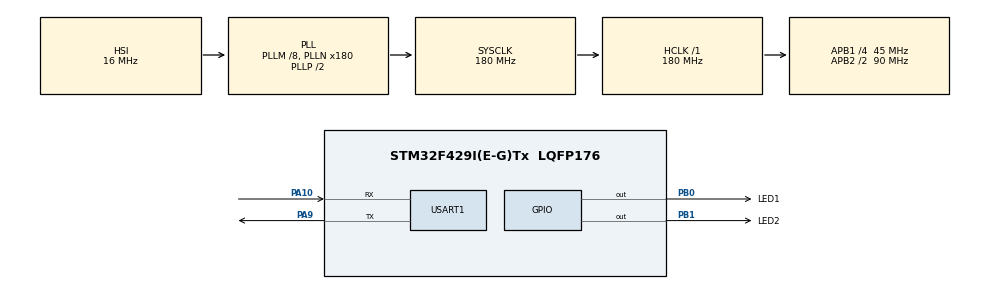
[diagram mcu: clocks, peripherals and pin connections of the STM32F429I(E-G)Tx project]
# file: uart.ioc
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Mcu.Family=STM32F4
Mcu.Name=STM32F429I(E-G)Tx
Mcu.Package=LQFP176
NVIC.PriorityGroup=NVIC_PRIORITYGROUP_4
NVIC.TIM5_IRQn=true\:0\:0\:false\:false\:true\:true\:true\:true
NVIC.TIM6_DAC_IRQn=true\:0\:0\:false\:false\:true\:true\:true\:true
NVIC.TIM7_IRQn=true\:0\:0\:false\:false\:true\:true\:true\:true
NVIC.USART1_IRQn=true\:0\:0\:false\:false\:true\:true\:true\:true
PA10.Mode=Asynchronous
PA10.Signal=USART1_RX
PA13.Mode=Serial_Wire
PA13.Signal=SYS_JTMS-SWDIO
PA14.Mode=Serial_Wire
PA14.Signal=SYS_JTCK-SWCLK
PA9.Mode=Asynchronous
PA9.Signal=USART1_TX
PB0.GPIO_Label=LED1
PB0.PinState=GPIO_PIN_SET
PB0.Signal=GPIO_Output
PB1.GPIO_Label=LED2
PB1.PinState=GPIO_PIN_SET
PB1.Signal=GPIO_Output
PH0/OSC_IN.Mode=HSE-External-Oscillator
PH0/OSC_IN.Signal=RCC_OSC_IN
PH1/OSC_OUT.Mode=HSE-External-Oscillator
PH1/OSC_OUT.Signal=RCC_OSC_OUT
ProjectManager.HeapSize=0x200
ProjectManager.StackSize=0x400
ProjectManager.TargetToolchain=MDK-ARM V5.32
RCC.48MHZClocksFreq_Value=90000000
RCC.AHBFreq_Value=180000000
RCC.APB1CLKDivider=RCC_HCLK_DIV4
RCC.APB1Freq_Value=45000000
RCC.APB1TimFreq_Value=90000000
RCC.APB2CLKDivider=RCC_HCLK_DIV2
RCC.APB2Freq_Value=90000000
RCC.APB2TimFreq_Value=180000000
RCC.CortexFreq_Value=180000000
RCC.HCLKFreq_Value=180000000
RCC.HSE_VALUE=25000000
RCC.HSI_VALUE=16000000
RCC.LSE_VALUE=32768
RCC.PLLM=8
RCC.PLLN=180
RCC.SYSCLKFreq_VALUE=180000000
RCC.SYSCLKSource=RCC_SYSCLKSOURCE_PLLCLK
RCC.VCOOutputFreq_Value=360000000
TIM5.Prescaler=89
TIM6.Period=9999
TIM6.Prescaler=8999
TIM7.Period=999
TIM7.Prescaler=8999
USART1.VirtualMode=VM_ASYNC
VP_TIM5_VS_ClockSourceINT.Mode=Internal
VP_TIM6_VS_ClockSourceINT.Mode=Enable_Timer
VP_TIM7_VS_ClockSourceINT.Mode=Enable_Timer
board=custom

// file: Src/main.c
/* USER CODE BEGIN Header */
/**
  ******************************************************************************
  * @file           : main.c
  * @brief          : Main program body
  ******************************************************************************
  * @attention
  *
  * Copyright (c) 2024 STMicroelectronics.
  * All rights reserved.
  *
  * This software is licensed under terms that can be found in the LICENSE file
  * in the root directory of this software component.
  * If no LICENSE file comes with this software, it is provided AS-IS.
  *
  ******************************************************************************
  */
/* USER CODE END Header */
#include "main.h"
#include "tim.h"
#include "usart.h"
#include "gpio.h"

/* USER CODE BEGIN Includes */
#include "stdlib.h"

typedef uint8_t u8;
typedef uint16_t u16;
typedef uint32_t u32;

u16 t1=0,t2,t=0;               // 定时器寄存器为16位
u32 b1,b2;
u32 i;
/* USER CODE END Includes */

void SystemClock_Config(void);

/* USER CODE BEGIN 0 */

u32 USART1_Baud(void)
{
	HAL_TIM_Base_Start(&htim5);
	b1 = HAL_GPIO_ReadPin(GPIOA,GPIO_PIN_10);            // 读GPIOA.10的电平
	for(i=0;i<32;)                                    // 连续检测GPIO.10引脚32次电平变更
	{

			b2 = HAL_GPIO_ReadPin(GPIOA,GPIO_PIN_10);    // 读GPIOA.10的新值

			if(b2 != b1)                               // 如果有电平变更
			{
				t2 = __HAL_TIM_GET_COUNTER(&htim5);         // 读定时器中的值
				b1 = b2;                          // 更新为新的引脚值
				if((t1 == 0)&&(t==0))        // 第一个电平变更
				{
					t1 = t2;                     // 记录第一个时刻点
				}
				else                                  // 不是第一个电平变更
				{
					if(t == 0)                   // 第一段电平
					{
						t = t2-t1;           // 记录第一段电平所用时间
					}
					else                          // 不是第一段电平
					{
						if((t2-t1)< t)       // 保存电平段的最小值
						{
							t = t2-t1;
						}
					}
					t1 = t2;                      // 更新为新的时刻点
				}
				i++;                                  // 电平变更数+1
			}
	}
	HAL_TIM_Base_Stop(&htim5);                               // 关闭TIM5的时钟
	__HAL_TIM_SetCounter(&htim5,0);
	return ((u32)t*403/400);
}

u8 rx_tmp;
u8 rx_buf[20];
u8 rx_len;
u8 flag_baud,flag_rx;

void check_baud()
{
	if(flag_baud)
	{
		u32 bps = 0;
		u8 val = USART1_Baud();
		if(abs(val - 105) < 3)	bps = 9600;
		else if(abs(val - 53) < 3)	bps = 19200;
		else if(abs(val - 13) < 3)	bps = 76800;
		else if(abs(val - 8) < 3)	bps = 115200;

		if(bps != 0)
		{
			flag_rx = 1;
			huart1.Init.BaudRate = bps;
			HAL_UART_Init(&huart1);
			HAL_UART_AbortReceive_IT(&huart1);

			printf("%d\r\n",bps);
//			HAL_TIM_Base_Stop_IT(&htim7);
			HAL_UART_Receive_IT(&huart1,(u8 *)&rx_tmp,1);
			memset(rx_buf,0,rx_len);
			rx_len = 0;
		}
	}
}

__IO u32 uwtick_rx;
void HAL_UART_RxCpltCallback(UART_HandleTypeDef *huart)
{
	if(!flag_rx)
	{
		HAL_TIM_Base_Start_IT(&htim7);
		flag_baud = 1;
	}
	else	flag_baud = 0;
	uwtick_rx = uwTick;
	rx_buf[rx_len++] = rx_tmp;
	HAL_UART_Receive_IT(&huart1,(u8 *)&rx_tmp,1);
}

void rx_proc()
{
	if(uwTick - uwtick_rx < 10)	return;
	uwtick_rx = uwTick;

	if(rx_len)
	{
		if(flag_rx)
		{
			HAL_TIM_Base_Stop_IT(&htim7);
			HAL_GPIO_WritePin(LED2_GPIO_Port,LED2_Pin,GPIO_PIN_SET);
			printf("%s\r\n",rx_buf);
			flag_rx = 0;
		}
		memset(rx_buf,0,rx_len);
		rx_len = 0;
	}
}

void HAL_TIM_PeriodElapsedCallback(TIM_HandleTypeDef *htim)
{
	if(htim->Instance == TIM6)
	{
		HAL_GPIO_TogglePin(LED1_GPIO_Port,LED1_Pin);
	}
	if(htim->Instance == TIM7)
	{
		HAL_GPIO_TogglePin(LED2_GPIO_Port,LED2_Pin);
	}
}

/* USER CODE END 0 */

int main(void)
{

  /* MCU Configuration--------------------------------------------------------*/

  /* Reset of all peripherals, Initializes the Flash interface and the Systick. */
  HAL_Init();

  /* Configure the system clock */
  SystemClock_Config();

  /* Initialize all configured peripherals */
  MX_GPIO_Init();
  MX_USART1_UART_Init();
  MX_TIM5_Init();
  MX_TIM6_Init();
  MX_TIM7_Init();
  /* USER CODE BEGIN 2 */
	HAL_TIM_Base_Start_IT(&htim6);
	HAL_UART_Receive_IT(&huart1,(u8 *)&rx_tmp,1);

  /* USER CODE END 2 */

  /* Infinite loop */
  /* USER CODE BEGIN WHILE */
  while (1)
  {
		check_baud();
		rx_proc();

    /* USER CODE END WHILE */

  }
}

void SystemClock_Config(void)
{
  RCC_OscInitTypeDef RCC_OscInitStruct = {0};
  RCC_ClkInitTypeDef RCC_ClkInitStruct = {0};

  /** Configure the main internal regulator output voltage
  */
  __HAL_RCC_PWR_CLK_ENABLE();
  __HAL_PWR_VOLTAGESCALING_CONFIG(PWR_REGULATOR_VOLTAGE_SCALE1);

  /** Initializes the RCC Oscillators according to the specified parameters
  * in the RCC_OscInitTypeDef structure.
  */
  RCC_OscInitStruct.OscillatorType = RCC_OSCILLATORTYPE_HSI;
  RCC_OscInitStruct.HSIState = RCC_HSI_ON;
  RCC_OscInitStruct.HSICalibrationValue = RCC_HSICALIBRATION_DEFAULT;
  RCC_OscInitStruct.PLL.PLLState = RCC_PLL_ON;
  RCC_OscInitStruct.PLL.PLLSource = RCC_PLLSOURCE_HSI;
  RCC_OscInitStruct.PLL.PLLM = 8;
  RCC_OscInitStruct.PLL.PLLN = 180;
  RCC_OscInitStruct.PLL.PLLP = RCC_PLLP_DIV2;
  RCC_OscInitStruct.PLL.PLLQ = 4;
  if (HAL_RCC_OscConfig(&RCC_OscInitStruct) != HAL_OK)
  {
    Error_Handler();
  }

  /** Activate the Over-Drive mode
  */
  if (HAL_PWREx_EnableOverDrive() != HAL_OK)
  {
    Error_Handler();
  }

  /** Initializes the CPU, AHB and APB buses clocks
  */
  RCC_ClkInitStruct.ClockType = RCC_CLOCKTYPE_HCLK|RCC_CLOCKTYPE_SYSCLK
                              |RCC_CLOCKTYPE_PCLK1|RCC_CLOCKTYPE_PCLK2;
  RCC_ClkInitStruct.SYSCLKSource = RCC_SYSCLKSOURCE_PLLCLK;
  RCC_ClkInitStruct.AHBCLKDivider = RCC_SYSCLK_DIV1;
  RCC_ClkInitStruct.APB1CLKDivider = RCC_HCLK_DIV4;
  RCC_ClkInitStruct.APB2CLKDivider = RCC_HCLK_DIV2;

  if (HAL_RCC_ClockConfig(&RCC_ClkInitStruct, FLASH_LATENCY_5) != HAL_OK)
  {
    Error_Handler();
  }
}

void Error_Handler(void)
{
  __disable_irq();
  while (1)
  {
  }
}
